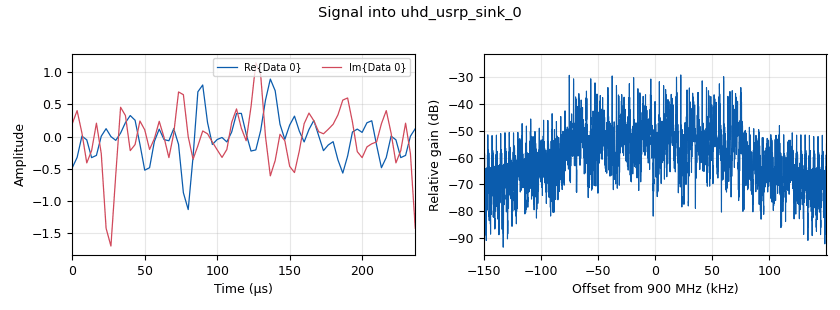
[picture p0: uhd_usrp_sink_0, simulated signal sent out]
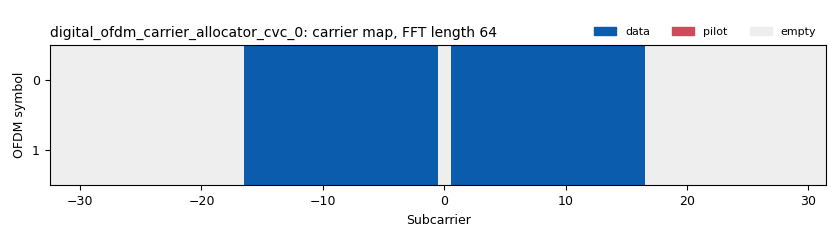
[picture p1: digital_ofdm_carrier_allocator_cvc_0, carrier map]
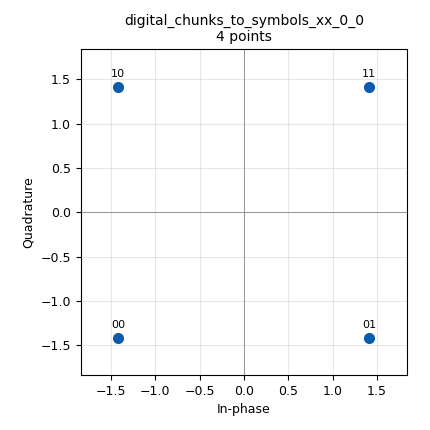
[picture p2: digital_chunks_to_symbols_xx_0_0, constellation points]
options:
  parameters:
    generate_options: qt_gui
    id: ofdm_rlrx
    output_language: python
    title: Stripped OFDM
  states: {}

blocks:
- name: delay
  id: variable_qtgui_range
  parameters:
    label: Delay
    orient: Qt.Horizontal
    rangeType: int
    start: '0'
    step: '1'
    stop: '200'
    value: '8'
  states: {}
- name: fft_len
  id: variable
  parameters:
    value: '64'
  states: {}
- name: freq
  id: variable
  parameters:
    value: 900e6
  states: {}
- name: gain
  id: variable_qtgui_range
  parameters:
    label: Amplitude
    orient: Qt.Horizontal
    start: '0'
    step: '.2'
    stop: '90'
    value: '30'
  states: {}
- name: header_mod
  id: variable
  parameters:
    value: digital.constellation_bpsk()
  states: {}
- name: length_tag_key
  id: variable
  parameters:
    value: '"packet_len"'
  states: {}
- name: length_tag_key_0
  id: variable
  parameters:
    value: '"frame_len"'
  states: {}
- name: occupied_carriers
  id: variable
  parameters:
    value: ( list(range(-16, 0)) + list(range(1, 17)),)
  states: {}
- name: offset
  id: variable_qtgui_range
  parameters:
    label: Frequency Offset
    orient: Qt.Horizontal
    start: '-10000'
    step: '0.1'
    stop: '10000'
    value: '0'
  states: {}
- name: packet_len
  id: variable
  parameters:
    value: '96'
  states: {}
- name: packet_length_tag_key
  id: variable
  parameters:
    value: '"packet_len"'
  states: {}
- name: payload_mod
  id: variable
  parameters:
    value: digital.constellation_qpsk()
  states: {}
- name: pilot_carriers
  id: variable
  parameters:
    value: ((-21, -7, 7, 21,),)
  states: {}
- name: pilot_symbols
  id: variable
  parameters:
    value: ((1, 1, 1, -1,),)
  states: {}
- name: rolloff
  id: variable
  parameters:
    value: '1'
  states: {}
- name: samp_rate
  id: variable
  parameters:
    value: '300000'
  states: {}
- name: sync_word1
  id: variable
  parameters:
    value: '[0., 0., 0., 0., 0., 0., 0., 1.41421356, 0., -1.41421356, 0., 1.41421356, 0., -1.41421356, 0., -1.41421356, 0., -1.41421356, 0., 1.41421356, 0., -1.41421356, 0., 1.41421356, 0., -1.41421356, 0., -1.41421356, 0., -1.41421356, 0., -1.41421356, 0., 1.41421356, 0., -1.41421356, 0., 1.41421356, 0., 1.41421356, 0., 1.41421356, 0., -1.41421356, 0., 1.41421356, 0., 1.41421356, 0., 1.41421356, 0., -1.41421356, 0., 1.41421356, 0., 1.41421356, 0., 1.41421356, 0., 0., 0., 0., 0., 0.]'
  states: {}
- name: sync_word2
  id: variable
  parameters:
    value: '[0, 0, 0, 0, 0, 0, -1, -1, -1, -1, 1, 1, -1, -1, -1, 1, -1, 1, 1, 1, 1, 1, -1, -1, -1, -1, -1, 1, -1, -1, 1, -1, 0, 1, -1, 1, 1, 1, -1, 1, 1, 1, -1, 1, 1, 1, 1, -1, 1, -1, -1, -1, 1, -1, 1, -1, -1, -1, -1, 0, 0, 0, 0, 0] '
  states: {}
- name: analog_frequency_modulator_fc_0
  id: analog_frequency_modulator_fc
  parameters:
    sensitivity: '-2.0/fft_len'
  states: {}
- name: analog_random_source_x_0_0
  id: analog_random_source_x
  parameters:
    max: '255'
    min: '0'
    num_samps: '1000'
    repeat: 'True'
    type: byte
  states: {state: disabled}
- name: blocks_char_to_float_0_0
  id: blocks_char_to_float
  parameters:
    scale: '1'
  states: {}
- name: blocks_char_to_float_0_0_0
  id: blocks_char_to_float
  parameters:
    scale: '1'
  states: {}
- name: blocks_delay_0
  id: blocks_delay
  parameters:
    delay: delay
    type: complex
  states: {}
- name: blocks_delay_0_0_0
  id: blocks_delay
  parameters:
    delay: '8'
    type: byte
  states: {}
- name: blocks_multiply_const_vxx_0
  id: blocks_multiply_const_vxx
  parameters:
    const: '0.05'
    type: complex
  states: {}
- name: blocks_multiply_const_xx_0
  id: blocks_multiply_const_xx
  parameters:
    const: 1/64
    type: complex
    vlen: '64'
  states: {}
- name: blocks_multiply_xx_0
  id: blocks_multiply_xx
  parameters:
    type: complex
  states: {}
- name: blocks_null_sink_0
  id: blocks_null_sink
  parameters:
    type: float
  states: {}
- name: blocks_repack_bits_bb_0
  id: blocks_repack_bits_bb
  parameters:
    align_output: 'True'
    endianness: gr.GR_LSB_FIRST
    k: payload_mod.bits_per_symbol()
    l: '8'
    len_tag_key: packet_length_tag_key
  states: {}
- name: blocks_repack_bits_bb_0_0
  id: blocks_repack_bits_bb
  parameters:
    endianness: gr.GR_LSB_FIRST
    k: '8'
    l: payload_mod.bits_per_symbol()
    len_tag_key: length_tag_key
  states: {}
- name: blocks_stream_to_tagged_stream_0_0
  id: blocks_stream_to_tagged_stream
  parameters:
    len_tag_key: length_tag_key
    packet_len: packet_len
    type: byte
  states: {}
- name: blocks_stream_to_vector_0
  id: blocks_stream_to_vector
  parameters:
    num_items: '64'
    type: complex
  states: {}
- name: blocks_tag_debug_1
  id: blocks_tag_debug
  parameters:
    display: 'False'
    filter: ''
    name: Rx Bytes
    type: byte
  states: {}
- name: blocks_tag_gate_0
  id: blocks_tag_gate
  parameters:
    propagate_tags: 'False'
    type: complex
  states: {state: disabled}
- name: blocks_throttle_0_0
  id: blocks_throttle
  parameters:
    samples_per_second: samp_rate
    type: complex
  states: {state: disabled}
- name: blocks_vector_source_x_0
  id: blocks_vector_source_x
  parameters:
    repeat: 'True'
    tags: ()
    type: byte
    vector: range(packet_len)
  states: {}
- name: channels_channel_model_0
  id: channels_channel_model
  parameters:
    block_tags: 'True'
    epsilon: '1.0'
    freq_offset: 0 * 1.0/fft_len
    noise_voltage: '0.1'
    seed: '0'
    taps: '1.0'
  states: {state: disabled}
- name: digital_chunks_to_symbols_xx_0_0
  id: digital_chunks_to_symbols_xx
  parameters:
    dimension: '1'
    in_type: byte
    out_type: complex
    symbol_table: payload_mod.points()
  states: {}
- name: digital_constellation_decoder_cb_1
  id: digital_constellation_decoder_cb
  parameters:
    constellation: payload_mod.base()
  states: {}
- name: digital_ofdm_carrier_allocator_cvc_0
  id: digital_ofdm_carrier_allocator_cvc
  parameters:
    fft_len: fft_len
    len_tag_key: length_tag_key
    occupied_carriers: occupied_carriers
    output_is_shifted: 'True'
    pilot_carriers: ((),)
    pilot_symbols: ((),)
    sync_words: (sync_word1,)
  states: {}
- name: digital_ofdm_cyclic_prefixer_0
  id: digital_ofdm_cyclic_prefixer
  parameters:
    cp_len: fft_len//4
    input_size: fft_len
    rolloff: rolloff
    tagname: length_tag_key
  states: {}
- name: digital_ofdm_serializer_vcc_payload
  id: digital_ofdm_serializer_vcc
  parameters:
    carr_offset_key: ''
    fft_len: fft_len
    len_tag_key: packet_length_tag_key
    occupied_carriers: occupied_carriers
    packet_len_tag_key: ''
  states: {}
- name: digital_ofdm_sync_sc_cfb_0
  id: digital_ofdm_sync_sc_cfb
  parameters:
    cp_len: fft_len//4
    fft_len: fft_len
    threshold: '0.9'
  states: {}
- name: epy_block_0
  id: epy_block
  parameters:
    _source_code: |
      """
      Embedded Python Blocks:

      Each time this file is saved, GRC will instantiate the first class it finds
      to get ports and parameters of your block. The arguments to __init__  will
      be the parameters. All of them are required to have default values!
      """

      import numpy as np
      from gnuradio import gr
      import pmt

      class trigger(gr.basic_block):  # other base classes are basic_block, decim_block, interp_block
          """Embedded python block that forwards a chunk of 'len' samples when the trigger input receives a 1. Input and trigger streams need to be synchronised."""

          def __init__(self, fft_len = 64, cp_len = 16, length=10, tag_key="frame_len"):  # only default arguments here
              """arguments to this function show up as parameters in GRC"""
              gr.basic_block.__init__(
                  self,
                  name='Trigger',   # will show up in GRC
                  in_sig=[np.complex64, np.int8],
                  out_sig=[np.complex64]
              )
              # if an attribute with the same name as a parameter is found,
              # a callback is registered (properties work, too).
              self.fft_len = fft_len
              self.cp_len = cp_len
              self.length = length
              self.tag_key = tag_key
              self.to_forward = 0
              self.sample_in_frame = 0

          def forecast(self, noutput_items, ninput_items_required):
              # setup size of input_items[i] for work call
              for i in range(len(ninput_items_required)):
                      ninput_items_required[i] = int(noutput_items)

          def general_work(self, input_items, output_items):
              """forwards item upon trigger reception"""
              output_samples = 0
              input = input_items[0]
              trigger = input_items[1]
              work_samples = np.minimum(len(output_items[0]),np.minimum(len(input), len(trigger)))
              for i in range(work_samples):
                  if trigger[i] == 1: # Triggered
                      length_to_send = self.length
                      self.add_item_tag(0, output_samples+self.nitems_written(0), pmt.intern(self.tag_key), pmt.to_pmt(length_to_send))
                      self.to_forward = self.length
                  if self.to_forward > 0:
                      if self.sample_in_frame >= self.cp_len:
                          output_items[0][output_samples] = input[i]
                          output_samples += 1
                      self.sample_in_frame = (self.sample_in_frame + 1) % (self.fft_len+self.cp_len)
                      if self.sample_in_frame == 0:
                          self.to_forward -= 1

              self.consume(0, work_samples)
              self.consume(1, work_samples)
              return output_samples
    cp_len: '16'
    fft_len: '64'
    length: '12'
    tag_key: '"packet_len"'
  states: {}
- name: fft_vxx_0_0
  id: fft_vxx
  parameters:
    fft_size: fft_len
    forward: 'False'
    shift: 'True'
    type: complex
    window: ()
  states: {}
- name: fft_vxx_1
  id: fft_vxx
  parameters:
    fft_size: fft_len
    forward: 'True'
    shift: 'True'
    type: complex
    window: ()
  states: {}
- name: import_1
  id: import
  parameters:
    imports: from gnuradio.digital.utils import tagged_streams
  states: {}
- name: qtgui_freq_sink_x_0
  id: qtgui_freq_sink_x
  parameters:
    bw: samp_rate
    fc: '0'
    fftsize: '1024'
    type: complex
    wintype: firdes.WIN_BLACKMAN_hARRIS
  states: {}
- name: qtgui_time_sink_x_0_1
  id: qtgui_time_sink_x
  parameters:
    color1: red
    color2: green
    label1: Output
    label2: Input
    nconnections: '2'
    size: '1024'
    srate: samp_rate
    type: float
  states: {}
- name: uhd_usrp_sink_0
  id: uhd_usrp_sink
  parameters:
    ant0: TX/RX
    center_freq0: freq + offset
    dev_args: '""'
    gain0: gain
    len_tag_name: ''
    norm_gain0: 'False'
    samp_rate: samp_rate
    sync: pc_clock
    type: fc32
  states: {}
- name: uhd_usrp_source_0
  id: uhd_usrp_source
  parameters:
    ant0: RX2
    center_freq0: freq
    dc_offs_enb0: '""'
    dev_args: '""'
    gain0: '0'
    iq_imbal_enb0: '""'
    norm_gain0: 'False'
    rx_agc0: Disabled
    samp_rate: samp_rate
    sync: pc_clock
    type: fc32
  states: {}
- name: virtual_sink_0_0_0_0
  id: virtual_sink
  parameters:
    stream_id: Pre-OFDM
  states: {}
- name: virtual_sink_1
  id: virtual_sink
  parameters:
    stream_id: Payload Stream
  states: {}
- name: virtual_sink_1_0
  id: virtual_sink
  parameters:
    stream_id: Payload IQ
  states: {}
- name: virtual_source_0_0
  id: virtual_source
  parameters:
    stream_id: Payload IQ
  states: {}
- name: virtual_source_0_0_0_1
  id: virtual_source
  parameters:
    stream_id: Pre-OFDM
  states: {}
- name: virtual_source_1
  id: virtual_source
  parameters:
    stream_id: Payload Stream
  states: {}

connections:
- [analog_frequency_modulator_fc_0, '0', blocks_multiply_xx_0, '1']
- [analog_random_source_x_0_0, '0', blocks_stream_to_tagged_stream_0_0, '0']
- [blocks_char_to_float_0_0, '0', qtgui_time_sink_x_0_1, '0']
- [blocks_char_to_float_0_0_0, '0', qtgui_time_sink_x_0_1, '1']
- [blocks_delay_0, '0', blocks_multiply_xx_0, '0']
- [blocks_delay_0_0_0, '0', epy_block_0, '1']
- [blocks_multiply_const_vxx_0, '0', blocks_tag_gate_0, '0']
- [blocks_multiply_const_vxx_0, '0', uhd_usrp_sink_0, '0']
- [blocks_multiply_const_xx_0, '0', digital_ofdm_serializer_vcc_payload, '0']
- [blocks_multiply_xx_0, '0', epy_block_0, '0']
- [blocks_repack_bits_bb_0, '0', blocks_char_to_float_0_0, '0']
- [blocks_repack_bits_bb_0, '0', blocks_tag_debug_1, '0']
- [blocks_repack_bits_bb_0_0, '0', digital_chunks_to_symbols_xx_0_0, '0']
- [blocks_stream_to_tagged_stream_0_0, '0', blocks_char_to_float_0_0_0, '0']
- [blocks_stream_to_tagged_stream_0_0, '0', blocks_repack_bits_bb_0_0, '0']
- [blocks_stream_to_vector_0, '0', virtual_sink_1, '0']
- [blocks_tag_gate_0, '0', blocks_throttle_0_0, '0']
- [blocks_throttle_0_0, '0', channels_channel_model_0, '0']
- [blocks_throttle_0_0, '0', digital_ofdm_sync_sc_cfb_0, '0']
- [blocks_throttle_0_0, '0', epy_block_0, '0']
- [blocks_vector_source_x_0, '0', blocks_stream_to_tagged_stream_0_0, '0']
- [digital_chunks_to_symbols_xx_0_0, '0', virtual_sink_0_0_0_0, '0']
- [digital_constellation_decoder_cb_1, '0', blocks_repack_bits_bb_0, '0']
- [digital_ofdm_carrier_allocator_cvc_0, '0', fft_vxx_0_0, '0']
- [digital_ofdm_cyclic_prefixer_0, '0', blocks_multiply_const_vxx_0, '0']
- [digital_ofdm_serializer_vcc_payload, '0', virtual_sink_1_0, '0']
- [digital_ofdm_sync_sc_cfb_0, '0', analog_frequency_modulator_fc_0, '0']
- [digital_ofdm_sync_sc_cfb_0, '0', blocks_null_sink_0, '0']
- [digital_ofdm_sync_sc_cfb_0, '1', blocks_delay_0_0_0, '0']
- [epy_block_0, '0', blocks_stream_to_vector_0, '0']
- [fft_vxx_0_0, '0', digital_ofdm_cyclic_prefixer_0, '0']
- [fft_vxx_1, '0', blocks_multiply_const_xx_0, '0']
- [uhd_usrp_source_0, '0', blocks_delay_0, '0']
- [uhd_usrp_source_0, '0', digital_ofdm_sync_sc_cfb_0, '0']
- [uhd_usrp_source_0, '0', qtgui_freq_sink_x_0, '0']
- [virtual_source_0_0, '0', digital_constellation_decoder_cb_1, '0']
- [virtual_source_0_0_0_1, '0', digital_ofdm_carrier_allocator_cvc_0, '0']
- [virtual_source_1, '0', fft_vxx_1, '0']

metadata:
  file_format: 1
